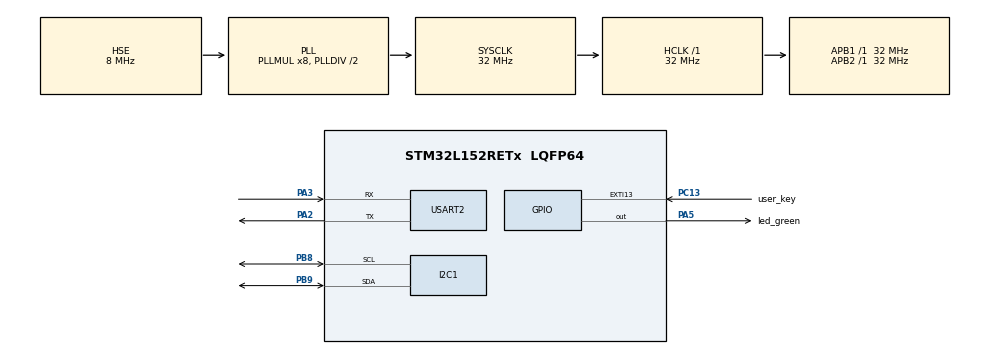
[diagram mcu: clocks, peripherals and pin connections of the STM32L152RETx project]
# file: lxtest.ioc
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FREERTOS.BinarySemaphores01=TimerSem,Dynamic,NULL
FREERTOS.Queues01=CmdQueue,1,uint32_t,0,Dynamic,NULL,NULL
FREERTOS.Tasks01=Task_Dataacqu,0,128,Func_Dataacqu,Default,NULL,Dynamic,NULL,NULL;Task_Userrequ,-3,128,Func_Userrequ,Default,NULL,Dynamic,NULL,NULL;Task_Led,-3,128,Func_Led,Default,NULL,Dynamic,NULL,NULL
Mcu.Family=STM32L1
Mcu.Name=STM32L152RETx
Mcu.Package=LQFP64
NVIC.EXTI15_10_IRQn=true\:5\:0\:true\:false\:true\:true\:true
NVIC.PriorityGroup=NVIC_PRIORITYGROUP_4
NVIC.TIM2_IRQn=true\:0\:0\:false\:false\:true\:false\:false
NVIC.TIM3_IRQn=true\:6\:0\:true\:false\:true\:true\:true
NVIC.TimeBase=TIM2_IRQn
NVIC.TimeBaseIP=TIM2
NVIC.USART2_IRQn=true\:7\:0\:true\:false\:true\:true\:true
PA2.Mode=Asynchronous
PA2.Signal=USART2_TX
PA3.Mode=Asynchronous
PA3.Signal=USART2_RX
PA5.GPIO_Label=led_green
PA5.Signal=GPIO_Output
PB8.Mode=I2C
PB8.Signal=I2C1_SCL
PB9.Mode=I2C
PB9.Signal=I2C1_SDA
PC13-WKUP2.GPIO_Label=user_key
PC13-WKUP2.GPIO_ModeDefaultEXTI=GPIO_MODE_IT_FALLING
PC13-WKUP2.GPIO_PuPd=GPIO_PULLUP
PC13-WKUP2.Signal=GPXTI13
PH0-OSC_IN.Mode=HSE-External-Clock-Source
PH0-OSC_IN.Signal=RCC_OSC_IN
ProjectManager.HeapSize=0x200
ProjectManager.StackSize=0x400
ProjectManager.TargetToolchain=MDK-ARM V5
RCC.48MHZClocksFreq_Value=32000000
RCC.AHBFreq_Value=32000000
RCC.APB1Freq_Value=32000000
RCC.APB1TimFreq_Value=32000000
RCC.APB2Freq_Value=32000000
RCC.APB2TimFreq_Value=32000000
RCC.HCLKFreq_Value=32000000
RCC.HSE_VALUE=8000000
RCC.HSI_VALUE=16000000
RCC.LSE_VALUE=32768
RCC.MSI_VALUE=2097000
RCC.PLLMUL=RCC_PLL_MUL8
RCC.PLLSourceVirtual=RCC_PLLSOURCE_HSE
RCC.SYSCLKFreq_VALUE=32000000
RCC.SYSCLKSource=RCC_SYSCLKSOURCE_PLLCLK
RCC.VCOOutputFreq_Value=64000000
TIM3.Period=5000-1
TIM3.Prescaler=3200-1
USART2.VirtualMode=VM_ASYNC
VP_FREERTOS_VS_ENABLE.Mode=Enabled
VP_SYS_VS_tim2.Mode=TIM2
VP_TIM3_VS_ClockSourceINT.Mode=Internal
board=custom

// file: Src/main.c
/**
  ******************************************************************************
  * @file           : main.c
  * @brief          : Main program body
  ******************************************************************************
  * This notice applies to any and all portions of this file
  * that are not between comment pairs USER CODE BEGIN and
  * USER CODE END. Other portions of this file, whether
  * inserted by the user or by software development tools
  * are owned by their respective copyright owners.
  *
  * Copyright (c) 2018 STMicroelectronics International N.V.
  * All rights reserved.
  *
  * Redistribution and use in source and binary forms, with or without
  * modification, are permitted, provided that the following conditions are met:
  *
  * 1. Redistribution of source code must retain the above copyright notice,
  *    this list of conditions and the following disclaimer.
  * 2. Redistributions in binary form must reproduce the above copyright notice,
  *    this list of conditions and the following disclaimer in the documentation
  *    and/or other materials provided with the distribution.
  * 3. Neither the name of STMicroelectronics nor the names of other
  *    contributors to this software may be used to endorse or promote products
  *    derived from this software without specific written permission.
  * 4. This software, including modifications and/or derivative works of this
  *    software, must execute solely and exclusively on microcontroller or
  *    microprocessor devices manufactured by or for STMicroelectronics.
  * 5. Redistribution and use of this software other than as permitted under
  *    this license is void and will automatically terminate your rights under
  *    this license.
  *
  * THIS SOFTWARE IS PROVIDED BY STMICROELECTRONICS AND CONTRIBUTORS "AS IS"
  * AND ANY EXPRESS, IMPLIED OR STATUTORY WARRANTIES, INCLUDING, BUT NOT
  * LIMITED TO, THE IMPLIED WARRANTIES OF MERCHANTABILITY, FITNESS FOR A
  * PARTICULAR PURPOSE AND NON-INFRINGEMENT OF THIRD PARTY INTELLECTUAL PROPERTY
  * RIGHTS ARE DISCLAIMED TO THE FULLEST EXTENT PERMITTED BY LAW. IN NO EVENT
  * SHALL STMICROELECTRONICS OR CONTRIBUTORS BE LIABLE FOR ANY DIRECT, INDIRECT,
  * INCIDENTAL, SPECIAL, EXEMPLARY, OR CONSEQUENTIAL DAMAGES (INCLUDING, BUT NOT
  * LIMITED TO, PROCUREMENT OF SUBSTITUTE GOODS OR SERVICES; LOSS OF USE, DATA,
  * OR PROFITS; OR BUSINESS INTERRUPTION) HOWEVER CAUSED AND ON ANY THEORY OF
  * LIABILITY, WHETHER IN CONTRACT, STRICT LIABILITY, OR TORT (INCLUDING
  * NEGLIGENCE OR OTHERWISE) ARISING IN ANY WAY OUT OF THE USE OF THIS SOFTWARE,
  * EVEN IF ADVISED OF THE POSSIBILITY OF SUCH DAMAGE.
  *
  ******************************************************************************
  */
/**
 * Copyright (C), xxx
 * File name:     main.c
 * Author:  Brian     Version:  1.0      Date: 09.16.2018
 * Description:
            1. main function, to init modules, set sysclk and integrate UART to printf
            2. KEY and timer callback function definition.
 * Others:
 * Function List:
            1. int main(void);
						2. void SystemClock_Config(void);
            3. PUTCHAR_PROTOTYPE();
						4. void HAL_GPIO_EXTI_Callback(uint16_t GPIO_Pin);
						5. void HAL_TIM_PeriodElapsedCallback(TIM_HandleTypeDef *htim);
						6. void _Error_Handler(char *file, int line);
						7. void assert_failed(uint8_t* file, uint32_t line);
 */
#include "main.h"
#include "stm32l1xx_hal.h"
#include "cmsis_os.h"
#include "i2c.h"
#include "tim.h"
#include "usart.h"
#include "gpio.h"

/* USER CODE BEGIN Includes */
#include "lsm6dsl.h"
#include "lsm303agr.h"
/* USER CODE END Includes */

/* USER CODE BEGIN PV */
/* Private variables ---------------------------------------------------------*/

/* Global Var USERKEY Value when USERKEY is pressed, toggles between 0 and 1,as follows */
/* 1 - start data logging and saving*/
/* 0 - stop data logging and saving*/
/* others - no use*/
/*function HAL_GPIO_EXTI_Callback() in main.c and function User_Cmd_Processing() in freertos.c can modify it */

uint8_t g_user_key_value=0;

//integrate UART into printf
#ifdef __GNUC__
#define PUTCHAR_PROTOTYPE int _write(int file, char *data, int len)
#else
#define PUTCHAR_PROTOTYPE int fputc(int ch, FILE *f)
#endif

extern osSemaphoreId Timer3SemHandle;
/* USER CODE END PV */

void SystemClock_Config(void);
void MX_FREERTOS_Init(void);

/* USER CODE BEGIN PFP */
/* Private function prototypes -----------------------------------------------*/

/* USER CODE END PFP */

int main(void)
{

  /* MCU Configuration----------------------------------------------------------*/

  /* Reset of all peripherals, Initializes the Flash interface and the Systick. */
  HAL_Init();

  /* Configure the system clock */
  SystemClock_Config();

  /* Initialize all configured peripherals */
  MX_GPIO_Init();
  MX_USART2_UART_Init();
  MX_TIM3_Init();
  MX_I2C1_Init();
  /* USER CODE BEGIN 2 */
	__HAL_UART_ENABLE_IT(&huart2,UART_IT_RXNE); //Enable UART2 receive interrupt
	LSM6DSL_Init();  //initial LSM6DSL sensor
	LSM303AGR_Init();  //initial LSM303AGR sensor
  HAL_TIM_Base_Stop_IT(&htim3);//disale Timer3
  /* USER CODE END 2 */
   if(I2C_LSM6DSL_ReadData(WHO_AM_I_ACC_6DSL)!=0x6A)//read lsm6dsl's I2C device ID ,must be 0x6A
	 {
	   printf("\r\nLSM6DSL init failed!\r\n");
	 }

	 if(I2C_LSM303AGR_ReadData(LSM303AGR_I2C_A_R_ADDRESS,WHO_AM_I_ACC_303AGR)!=0x33)//read LSM303AGR accelorator's ID ,must be 0x33
	 {
	   printf("\r\nLSM303AGR ACC init failed!\r\n");
	 }

	 if(I2C_LSM303AGR_ReadData(LSM303AGR_I2C_M_R_ADDRESS,WHO_AM_I_MAG_303AGR)!=0x40)//read LSM303AGR magnetometer's ID ,must be 0x40
	 {
	   printf("\r\nLSM303AGR MAG init failed!\r\n");
	 }

	 printf("\r\nBSP initiation successful!\r\n");
	 printf("\r\nPress USER KEY to start data sampling!\r\n");
  /* Call init function for freertos objects (in freertos.c) */
  MX_FREERTOS_Init();

  /* Start scheduler */
  osKernelStart();

  /* We should never get here as control is now taken by the scheduler */

  /* Infinite loop */
  while (1)
  {

  }

}

void SystemClock_Config(void)
{

  RCC_OscInitTypeDef RCC_OscInitStruct;
  RCC_ClkInitTypeDef RCC_ClkInitStruct;

    /**Configure the main internal regulator output voltage
    */
  __HAL_PWR_VOLTAGESCALING_CONFIG(PWR_REGULATOR_VOLTAGE_SCALE1);

    /**Initializes the CPU, AHB and APB busses clocks
    */
  RCC_OscInitStruct.OscillatorType = RCC_OSCILLATORTYPE_HSE;
  RCC_OscInitStruct.HSEState = RCC_HSE_BYPASS;
  RCC_OscInitStruct.PLL.PLLState = RCC_PLL_ON;
  RCC_OscInitStruct.PLL.PLLSource = RCC_PLLSOURCE_HSE;
  RCC_OscInitStruct.PLL.PLLMUL = RCC_PLL_MUL8;
  RCC_OscInitStruct.PLL.PLLDIV = RCC_PLL_DIV2;
  if (HAL_RCC_OscConfig(&RCC_OscInitStruct) != HAL_OK)
  {
    _Error_Handler(__FILE__, __LINE__);
  }

    /**Initializes the CPU, AHB and APB busses clocks
    */
  RCC_ClkInitStruct.ClockType = RCC_CLOCKTYPE_HCLK|RCC_CLOCKTYPE_SYSCLK
                              |RCC_CLOCKTYPE_PCLK1|RCC_CLOCKTYPE_PCLK2;
  RCC_ClkInitStruct.SYSCLKSource = RCC_SYSCLKSOURCE_PLLCLK;
  RCC_ClkInitStruct.AHBCLKDivider = RCC_SYSCLK_DIV1;
  RCC_ClkInitStruct.APB1CLKDivider = RCC_HCLK_DIV1;
  RCC_ClkInitStruct.APB2CLKDivider = RCC_HCLK_DIV1;

  if (HAL_RCC_ClockConfig(&RCC_ClkInitStruct, FLASH_LATENCY_1) != HAL_OK)
  {
    _Error_Handler(__FILE__, __LINE__);
  }

    /**Configure the Systick interrupt time
    */
  HAL_SYSTICK_Config(HAL_RCC_GetHCLKFreq()/1000);

    /**Configure the Systick
    */
  HAL_SYSTICK_CLKSourceConfig(SYSTICK_CLKSOURCE_HCLK);

  /* SysTick_IRQn interrupt configuration */
  HAL_NVIC_SetPriority(SysTick_IRQn, 15, 0);
}

/* USER CODE BEGIN 4 */
PUTCHAR_PROTOTYPE
{
    HAL_UART_Transmit(&huart2 , (uint8_t *)&ch, 1, 0xFFFF);  //defining printf by using UART2
    return ch;
}

void HAL_GPIO_EXTI_Callback(uint16_t GPIO_Pin)
{
  /* NOTE: This function Should not be modified, when the callback is needed,
           the HAL_GPIO_EXTI_Callback could be implemented in the user file
   */
     if(GPIO_Pin==user_key_Pin)
		 {
			 g_user_key_value = !g_user_key_value;
			 if(g_user_key_value==1)//start logging data and saving data to flash
			 {
			   printf("\r\nStart data sampling...\r\n");
	       HAL_TIM_Base_Start_IT(&htim3);
			 }
			 else//stop logging data
			 {
			 	 printf("\r\nStop data sampling!\r\n");
	       HAL_TIM_Base_Stop_IT(&htim3);
			 }
		 }
}
/* USER CODE END 4 */

void HAL_TIM_PeriodElapsedCallback(TIM_HandleTypeDef *htim)
{
  if (htim->Instance == TIM2) {
    HAL_IncTick();
  }
  /* USER CODE BEGIN Callback 1 */
  if (htim->Instance == htim3.Instance)
		{
			if(osSemaphoreRelease(Timer3SemHandle) != osOK) //release timersemaphore to inform Func_Dataacqu function to log and save data
			{
		   	printf("\rTimer3 failed!\r\n"); //if failed, printf error
			}

   }
  /* USER CODE END Callback 1 */
}

void _Error_Handler(char *file, int line)
{
  while(1)
  {
  }
}

/************************ (C) COPYRIGHT STMicroelectronics *****END OF FILE****/

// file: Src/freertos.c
/**
  ******************************************************************************
  * File Name          : freertos.c
  * Description        : Code for freertos applications
  ******************************************************************************
  * This notice applies to any and all portions of this file
  * that are not between comment pairs USER CODE BEGIN and
  * USER CODE END. Other portions of this file, whether
  * inserted by the user or by software development tools
  * are owned by their respective copyright owners.
  *
  * Copyright (c) 2018 STMicroelectronics International N.V.
  * All rights reserved.
  *
  * Redistribution and use in source and binary forms, with or without
  * modification, are permitted, provided that the following conditions are met:
  *
  * 1. Redistribution of source code must retain the above copyright notice,
  *    this list of conditions and the following disclaimer.
  * 2. Redistributions in binary form must reproduce the above copyright notice,
  *    this list of conditions and the following disclaimer in the documentation
  *    and/or other materials provided with the distribution.
  * 3. Neither the name of STMicroelectronics nor the names of other
  *    contributors to this software may be used to endorse or promote products
  *    derived from this software without specific written permission.
  * 4. This software, including modifications and/or derivative works of this
  *    software, must execute solely and exclusively on microcontroller or
  *    microprocessor devices manufactured by or for STMicroelectronics.
  * 5. Redistribution and use of this software other than as permitted under
  *    this license is void and will automatically terminate your rights under
  *    this license.
  *
  * THIS SOFTWARE IS PROVIDED BY STMICROELECTRONICS AND CONTRIBUTORS "AS IS"
  * AND ANY EXPRESS, IMPLIED OR STATUTORY WARRANTIES, INCLUDING, BUT NOT
  * LIMITED TO, THE IMPLIED WARRANTIES OF MERCHANTABILITY, FITNESS FOR A
  * PARTICULAR PURPOSE AND NON-INFRINGEMENT OF THIRD PARTY INTELLECTUAL PROPERTY
  * RIGHTS ARE DISCLAIMED TO THE FULLEST EXTENT PERMITTED BY LAW. IN NO EVENT
  * SHALL STMICROELECTRONICS OR CONTRIBUTORS BE LIABLE FOR ANY DIRECT, INDIRECT,
  * INCIDENTAL, SPECIAL, EXEMPLARY, OR CONSEQUENTIAL DAMAGES (INCLUDING, BUT NOT
  * LIMITED TO, PROCUREMENT OF SUBSTITUTE GOODS OR SERVICES; LOSS OF USE, DATA,
  * OR PROFITS; OR BUSINESS INTERRUPTION) HOWEVER CAUSED AND ON ANY THEORY OF
  * LIABILITY, WHETHER IN CONTRACT, STRICT LIABILITY, OR TORT (INCLUDING
  * NEGLIGENCE OR OTHERWISE) ARISING IN ANY WAY OUT OF THE USE OF THIS SOFTWARE,
  * EVEN IF ADVISED OF THE POSSIBILITY OF SUCH DAMAGE.
  *
  ******************************************************************************
  */

/**
 * Copyright (C), xxx
 * File name:     freertos.c
 * Author:  Brian     Version:  1.0      Date: 09.16.2018
 * Description:
            1. freertos init, including setting up tasks, semaphore and queue.
            2. Data logging and save.
						3. Processing user command and reading data from flash.
						4. Led flashing.
 * Others:
 * Function List:
            1. void MX_FREERTOS_Init(void);
						2. void Func_Sensor_Data_Acquiring_Saving(void const * argument);
            3. void Func_User_Cmd_Processing(void const * argument);
            4. void Func_Led_Flashing(void const * argument);
 */
#include "FreeRTOS.h"
#include "task.h"
#include "cmsis_os.h"

/* USER CODE BEGIN Includes */
#include "tim.h"
#include "lsm6dsl.h"
#include "lsm303agr.h"
#include "sensordatastore.h"
#include "string.h"
#include "stdlib.h"
/* USER CODE END Includes */

osThreadId Task_DataacquHandle;
osThreadId Task_UsercmdHandle;
osThreadId Task_LedHandle;
osMessageQId CmdQueueHandle;
osSemaphoreId Timer3SemHandle;

/* USER CODE BEGIN Variables */
extern uint8_t g_user_key_value;//global var, defined in main.c
/* USER CODE END Variables */

void Func_Sensor_Data_Acquiring_Saving(void const * argument);
void Func_User_Cmd_Processing(void const * argument);
void Func_Led_Flashing(void const * argument);

void MX_FREERTOS_Init(void); /* (MISRA C 2004 rule 8.1) */

/* Hook prototypes */

/* Init FreeRTOS */

void MX_FREERTOS_Init(void) {

  /* Create the semaphores(s) */
  /* definition and creation of TimerSem */
  osSemaphoreDef(TimerSem);
  Timer3SemHandle = osSemaphoreCreate(osSemaphore(TimerSem), 1);

  /* Create the thread(s) */
  /* definition and creation of Task_Dataacqu */
  osThreadDef(Task_Dataacqu, Func_Sensor_Data_Acquiring_Saving, osPriorityNormal, 0, 128); //Task Priority highest
  Task_DataacquHandle = osThreadCreate(osThread(Task_Dataacqu), NULL);

  /* definition and creation of Task_Usercmd */
  osThreadDef(Task_Usercmd, Func_User_Cmd_Processing, osPriorityBelowNormal, 0, 128); //Task Priority medium
  Task_UsercmdHandle = osThreadCreate(osThread(Task_Usercmd), NULL);

  /* definition and creation of Task_Led */
  osThreadDef(Task_Led, Func_Led_Flashing, osPriorityLow, 0, 128);  //Task Priority lowest
  Task_LedHandle = osThreadCreate(osThread(Task_Led), NULL);

  /* Create the queue(s) */
  /* definition and creation of CmdQueue */
  osMessageQDef(CmdQueue, 1, uint32_t);
  CmdQueueHandle = osMessageCreate(osMessageQ(CmdQueue), NULL);

  /* USER CODE BEGIN RTOS_QUEUES */
	 if(osSemaphoreWait(Timer3SemHandle,100) != osOK) //get the timer semaphore first, because the semaphore created by HAL library \
		                            is defalut valid, need to get it so that Func_Sensor_Data_Acquiring_Saving function will get the right semaphore from timer3
	 {
      printf("\r\nTimerSem failed to get!\r\n");
   }
  /* add queues, ... */
  /* USER CODE END RTOS_QUEUES */
}

/* Func_Sensor_Data_Acquiring_Saving function
* @brief This function write data to flash.
  Author:  Brian
  Description:
     step1. Wait for timer3 semaphore, log data every 0.5 second.
	   step2. printf data to PC.
	   step3. Package data.
	   step4. Write data to flash.
  Others:
     Using a head for data spliting, a cnt to indicate the time of sample, a parity to verify the data package.
*/
void Func_Sensor_Data_Acquiring_Saving(void const * argument)
{
  /* USER CODE BEGIN Func_Sensor_Data_Acquiring_Saving */

  /* Infinite loop */
		LSM6DSLDat_t lsm6data;
    LSM303AGRDat_t lsm3data;
		union u32i16 write_data_buf;//6 words = 12 int16_t, Head+cnt+9 axis data+parity
	  static uint32_t s_write_addr_offset=0;//flash write address offset
    static uint16_t s_write_cnt=0;//the number of data saved in flash, increased by 1 when logging a new sample
  /* Infinite loop */
  for(;;)
  {
	  if(osSemaphoreWait(Timer3SemHandle,500) == osOK)//wait for timer's semaphore
	  {
			LSM6DSL_GetDat(&lsm6data); //log sample from LSM6DSL
			LSM303AGR_GetDat(&lsm3data); //log sample from LSM303AGR

			//package the data, format as head(0x55),cnt,3 axis ACC,3 axis GYR,3 axis MAG,parity\
			parity generated by a formula, and print data to PC
			s_write_cnt++;
			write_data_buf.dat16[0] = 0x55AA;
			write_data_buf.dat16[1] = s_write_cnt;

			int16_t *p_data;
			p_data = &lsm6data.ACC_X;
			printf("9 axis data: ");
			for(uint8_t i=0;i<sizeof(LSM6DSLDat_t)/2;i++)
			{
				 write_data_buf.dat16[i+2] = *p_data;
				 printf("%7d, ",*p_data);
				 p_data++;
			}

			p_data = &lsm3data.MAG_X;
			for(uint8_t i=0;i<sizeof(LSM303AGRDat_t)/2-3;i++)
			{
				 write_data_buf.dat16[sizeof(LSM6DSLDat_t)/2+2+i] = *p_data;
				 printf("%7d, ",*p_data);
				 p_data++;
			}
			printf("\r\n");

			int16_t write_parity=0;
			for(uint8_t i=0;i<DATSIZE*2-2;i++)
			{
			  write_parity ^= write_data_buf.dat16[i];
			}
			write_data_buf.dat16[DATSIZE*2-1] = write_parity;

			SensorDataStore_Write(s_write_addr_offset,&write_data_buf.dat32[0],DATSIZE);	//write data to flash
			s_write_addr_offset += sizeof(uint32_t) *DATSIZE; //write address added by sizeof(uint32_t)*DATSIZE bytes

	  }
    osDelay(5);
	}
  /* USER CODE END Func_Sensor_Data_Acquiring_Saving */
}

/* Func_User_Cmd_Processing function
  Author:  Brian
  Description:
     To receive command from UART2 via osMessage and further process.
     step1. Receive readsample command to stop data sampling and wait for further command.
     step2. Receive the number of seconds' data that user wants to read from the internal flash.
     step3. Read the data and send to PC via UART2
     step4. Wait for restart command or pressing USER KEY to exit and continue data sampling.
     At each step, when received restart command or pressing USER KEY can exit and restart data sampling.
     When received invalid command, print warning.
     During data sampling, only readsample and restart command are valid, the former can stop data sampling
     and process user's data requesting, while the later can restart data sampling.
  Others:
     One second's data includes 2*9 axis data.
*/
void Func_User_Cmd_Processing(void const * argument)
{
  /* USER CODE BEGIN Func_User_Cmd_Processing */
  /* Infinite loop */
	osEvent val;
	static uint8_t s_user_req_cnt=0; //count when get a queue from UART
  uint32_t read_addr_offset=0;//flash read address offset

  for(;;)
  {
		val = osMessageGet(CmdQueueHandle,osWaitForever);	//get queue by using osMessageGet
		if(val.status == osEventMessage)
		{
		    if(g_user_key_value==1) s_user_req_cnt = 0;  //when g_user_key_value is 1- during data sampling, always detect whether command is readsample

				s_user_req_cnt++;

				if(s_user_req_cnt==1)  //step1. detect readsample command
			  {
					if(strcmp(val.value.p,"readsample")==0)
					{
						printf("\r\nUser requesting samples...\r\n");
						HAL_TIM_Base_Stop_IT(&htim3);  //stop timer3 to log sample from sensor
						printf("\r\nHow many seconds' data to read from flash?\r\n");
						printf("\rOr send restart command or Press USER KEY to exit!\r\n");
						g_user_key_value = 0; //set g_user_key_value to 0, so that data sampling can begin when press USER KEY\
						                    Since received readsample command, to go to step2
					}
					else if((strcmp(val.value.p,"restart")==0)) //restart is also valid command
					{
					  printf("\r\nRestart data sampling...\r\n");
	          HAL_TIM_Base_Start_IT(&htim3);//enable timer3
						g_user_key_value = 1; //set g_user_key_value to 1, so that data sampling can stop when press USER KEY
						s_user_req_cnt= 0;  //stay at step1
					}
					else
					{
						printf("\r\nCommand invalid!\r\n"); //printf warning
						printf("\rSend restart command or Press USER KEY to exit!\r\n");
						s_user_req_cnt = 0;
					}
				}

				if(s_user_req_cnt==2) //step2. detect valid number of
			  {
          if(strspn(val.value.p,"0123456789")==strlen(val.value.p))
					{
						uint32_t read_size=0;
						read_size = 2*atoi(val.value.p); //change command to uint32_t number, one second has two sets of data
						printf("\r\nTrying to read %d seconds' samples, as bellow:\r\n",read_size/2);
						SensorDataStore_Read(read_addr_offset,read_size); //read data from flash and print
						printf("\r\nSample reading finished!\r\n");
						printf("\rSend restart command or Press USER KEY to exit!\r\n");// when received valid number, go to step3
					}
					else if((strcmp(val.value.p,"restart")==0))  //restart, and go to step1
					{
					  printf("\r\nRestart data sampling...\r\n");
	          HAL_TIM_Base_Start_IT(&htim3);
						g_user_key_value = 1;
						s_user_req_cnt= 0;
					}
					else  //print error, and stay at step2
					{
						printf("\r\nInput a valid size, should only include number!\r\n");
						printf("\rOr send restart command or Press USER KEY to exit!\r\n");
						s_user_req_cnt= 1;
					}
				}

				if(s_user_req_cnt==3) //step3. waiti for restart command or USER KEY pressing
				{
				  if((strcmp(val.value.p,"restart")==0)) //restart
					{
					  printf("\r\nRestart data Sampling...\r\n");
	          HAL_TIM_Base_Start_IT(&htim3);
						g_user_key_value = 1;
						s_user_req_cnt= 0;
					}
					else
					{
					  printf("\r\nSend restart command or Press USER KEY to exit!\r\n");
					  s_user_req_cnt = 2;  //stay at step3
					}
				}

		}
    osDelay(5);
	}

  /* USER CODE END Func_User_Cmd_Processing */
}

/* Func_Led_Flashing function */
void Func_Led_Flashing(void const * argument)
{
  /* USER CODE BEGIN Func_Led_Flashing */
  /* Infinite loop */
  for(;;)
  {
		HAL_GPIO_TogglePin(led_green_GPIO_Port,led_green_Pin);
    osDelay(1000);
  }
  /* USER CODE END Func_Led_Flashing */
}

/************************ (C) COPYRIGHT STMicroelectronics *****END OF FILE****/
